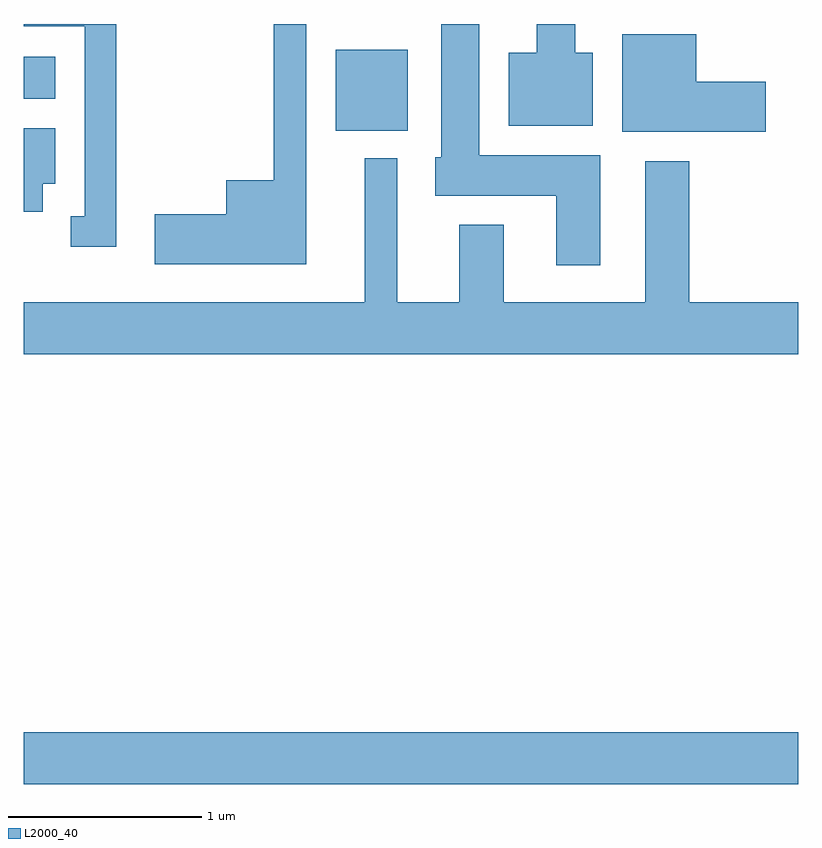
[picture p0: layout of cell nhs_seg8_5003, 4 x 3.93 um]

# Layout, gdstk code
import gdstk
lib = gdstk.Library(unit=1e-6, precision=1e-09)
def R(c, l, rs):  # rectangles x0, y0, x1, y1
    for r in rs: c.add(gdstk.rectangle(r[:2], r[2:], *l))
def P(c, l, *ps):  # polygons
    for p in ps: c.add(gdstk.Polygon(p, *l))
L2000_40 = (2000, 40)

nhs_seg8_5003 = lib.new_cell('nhs_seg8_5003')
R(nhs_seg8_5003, L2000_40, [(335.611,1836.416,339.611,1836.684), (337.221,1839.791,337.594,1840.209), (335.611,1839.956,335.774,1840.174)])
P(nhs_seg8_5003, L2000_40, [(336.089,1840.342),(335.611,1840.342),(335.611,1840.331),(335.926,1840.331),(335.926,1839.349),(335.853,1839.349),(335.853,1839.191),(336.089,1839.191)],
  [(338.549,1840.194),(338.459,1840.194),(338.459,1840.342),(338.261,1840.342),(338.261,1840.194),(338.116,1840.194),(338.116,1839.816),(338.549,1839.816)],
  [(338.589,1839.664),(337.964,1839.664),(337.964,1840.342),(337.766,1840.342),(337.766,1839.654),(337.736,1839.654),(337.736,1839.456),(338.361,1839.456),(338.361,1839.096),(338.589,1839.096)],
  [(337.069,1840.342),(336.901,1840.342),(336.901,1839.534),(336.656,1839.534),(336.656,1839.359),(336.286,1839.359),(336.286,1839.101),(337.069,1839.101)],
  [(339.444,1840.044),(339.084,1840.044),(339.084,1840.289),(338.701,1840.289),(338.701,1839.786),(339.444,1839.786)],
  [(335.709,1839.516),(335.774,1839.516),(335.774,1839.804),(335.611,1839.804),(335.611,1839.371),(335.709,1839.371)],
  [(339.611,1838.904),(339.049,1838.904),(339.049,1839.634),(338.821,1839.634),(338.821,1838.904),(338.089,1838.904),(338.089,1839.304),(337.861,1839.304),(337.861,1838.904),(337.539,1838.904),(337.539,1839.648),(337.371,1839.648),(337.371,1838.904),(335.611,1838.904),(335.611,1838.636),(339.611,1838.636)])

lib.write_gds('nhs_seg8_5003.gds')
